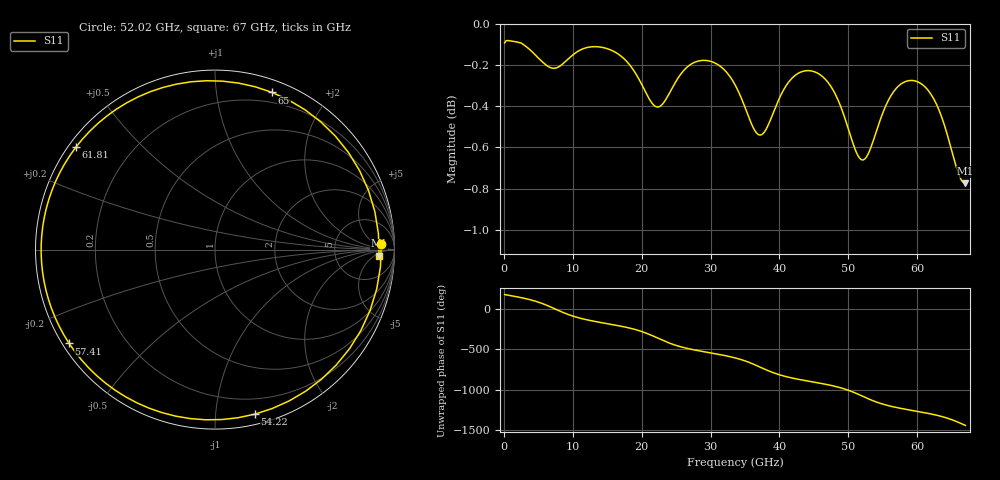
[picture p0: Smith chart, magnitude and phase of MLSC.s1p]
! Touchstone Ver. 1.0
! Number of ports is 1
# Hz  S RI  R  50
! SCATTERING PARAMETERS  :
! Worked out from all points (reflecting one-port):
!   336 points, 100 MHz to 67 GHz, reference 50 ohm
!   lowest |S11| = -0.8 dB at 67 GHz (marker M1), VSWR 22.45, Z = 953 - j401 ohm
!   phase of S11 starts at 178 deg and turns -1621 deg over the sweep
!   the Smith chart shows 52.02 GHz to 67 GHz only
!   S11 on the Smith chart (normalised r, x): 52.02 GHz: 23, +9; 54.22 GHz: 0.08, -1.27; 57.41 GHz: 0.02, -0.29; 61.81 GHz: 0.02, +0.33; 65 GHz: 0.11, +1.42; 67 GHz: 19, -8
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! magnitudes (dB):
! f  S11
! 100 MHz  -0.1
! 2.496 GHz  -0.1
! 6.69 GHz  -0.2
! 8.487 GHz  -0.2
! 12.48 GHz  -0.1
! 16.87 GHz  -0.2
! 22.07 GHz  -0.4
! 25.26 GHz  -0.3
! 29.46 GHz  -0.2
! 33.65 GHz  -0.3
! 36.25 GHz  -0.5
! 37.24 GHz  -0.5
! 42.04 GHz  -0.3
! 44.23 GHz  -0.2
! 46.63 GHz  -0.3
! 48.43 GHz  -0.4
! 50.42 GHz  -0.6
! 52.02 GHz  -0.7
! 52.82 GHz  -0.6
! 54.22 GHz  -0.5
! 55.82 GHz  -0.4
! 57.41 GHz  -0.3
! 58.81 GHz  -0.3
! 61.81 GHz  -0.3
! 63.41 GHz  -0.4
! 65 GHz  -0.6
! 66.2 GHz  -0.7
! 67 GHz  -0.8
